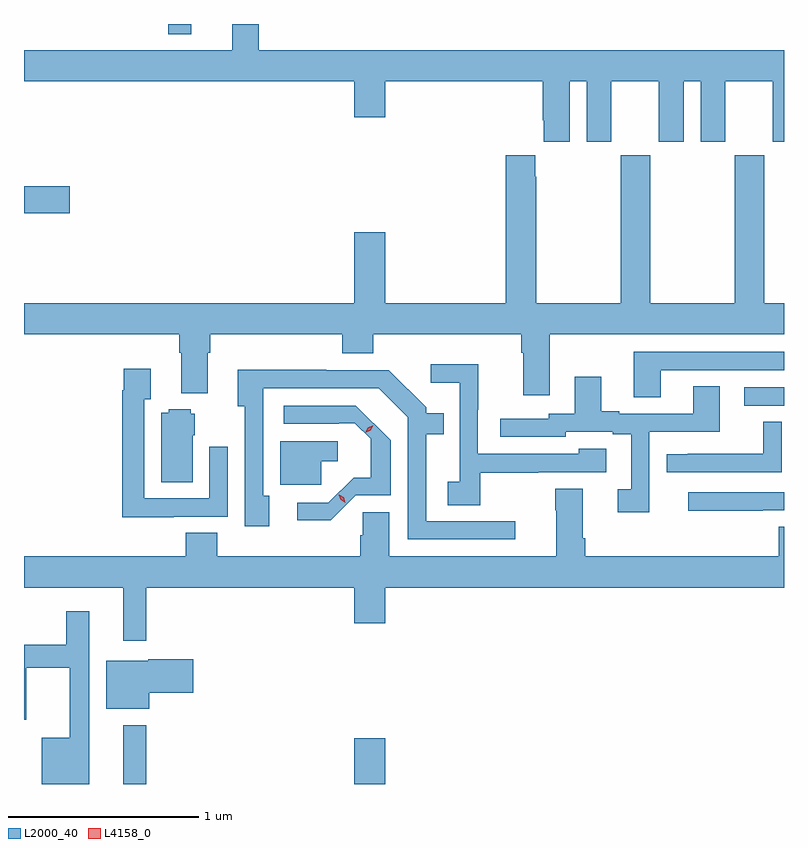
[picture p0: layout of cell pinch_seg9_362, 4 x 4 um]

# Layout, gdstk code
import gdstk
lib = gdstk.Library(unit=1e-6, precision=1e-09)
def R(c, l, rs):  # rectangles x0, y0, x1, y1
    for r in rs: c.add(gdstk.rectangle(r[:2], r[2:], *l))
def P(c, l, *ps):  # polygons
    for p in ps: c.add(gdstk.Polygon(p, *l))
L2000_40 = (2000, 40)
L4158_0 = (4158, 0)

pinch_seg9_362 = lib.new_cell('pinch_seg9_362')
R(pinch_seg9_362, L2000_40, [(379.577,1228.686,379.699,1228.996), (380.792,1228.686,380.956,1228.927), (382.845,1230.678,383.055,1230.774), (379.055,1231.69,379.297,1231.832), (379.814,1232.633,379.936,1232.686)])
P(pinch_seg9_362, L2000_40, [(381.928,1232.384),(382.016,1232.384),(382.016,1232.067),(382.147,1232.067),(382.147,1232.384),(382.397,1232.384),(382.397,1232.067),(382.528,1232.067),(382.528,1232.384),(382.616,1232.384),(382.616,1232.067),(382.747,1232.067),(382.747,1232.384),(382.997,1232.384),(382.997,1232.067),(383.055,1232.067),(383.055,1232.548),(380.29,1232.548),(380.29,1232.686),(380.15,1232.686),(380.15,1232.548),(379.055,1232.548),(379.055,1232.384),(380.792,1232.384),(380.792,1232.196),(380.956,1232.196),(380.956,1232.384),(381.785,1232.384),(381.785,1232.179),(381.791,1232.179),(381.791,1232.067),(381.928,1232.067)],
  [(379.055,1231.052),(379.871,1231.052),(379.871,1230.956),(379.883,1230.956),(379.883,1230.743),(380.023,1230.743),(380.023,1230.956),(380.036,1230.956),(380.036,1231.052),(380.729,1231.052),(380.729,1230.953),(380.894,1230.953),(380.894,1231.052),(381.671,1231.052),(381.671,1230.956),(381.683,1230.956),(381.683,1230.732),(381.823,1230.732),(381.823,1231.052),(383.055,1231.052),(383.055,1231.216),(382.95,1231.216),(382.95,1231.996),(382.795,1231.996),(382.795,1231.216),(382.35,1231.216),(382.35,1231.996),(382.195,1231.996),(382.195,1231.216),(381.75,1231.216),(381.75,1231.883),(381.745,1231.883),(381.745,1231.996),(381.59,1231.996),(381.59,1231.216),(380.956,1231.216),(380.956,1231.591),(380.792,1231.591),(380.792,1231.216),(379.055,1231.216)],
  [(382.405,1230.864),(383.055,1230.864),(383.055,1230.96),(382.265,1230.96),(382.265,1230.721),(382.405,1230.721)],
  [(381.457,1230.325),(381.761,1230.325),(381.761,1230.327),(382.12,1230.327),(382.12,1230.451),(381.975,1230.451),(381.975,1230.423),(381.444,1230.423),(381.444,1230.656),(381.447,1230.656),(381.447,1230.895),(381.195,1230.895),(381.195,1230.797),(381.348,1230.797),(381.348,1230.276),(381.285,1230.276),(381.285,1230.154),(381.457,1230.154)],
  [(379.843,1230.093),(380.127,1230.093),(380.127,1230.46),(380.031,1230.46),(380.031,1230.189),(379.689,1230.189),(379.689,1230.71),(379.723,1230.71),(379.723,1230.871),(379.581,1230.871),(379.581,1230.758),(379.573,1230.758),(379.573,1230.089),(379.843,1230.089)],
  [(381.64,1230.069),(381.172,1230.069),(381.172,1230.528),(381.263,1230.528),(381.263,1230.637),(381.171,1230.637),(381.171,1230.669),(380.976,1230.864),(380.645,1230.864),(380.645,1230.866),(380.18,1230.866),(380.18,1230.674),(380.217,1230.674),(380.217,1230.042),(380.347,1230.042),(380.347,1230.202),(380.313,1230.202),(380.313,1230.768),(380.922,1230.768),(381.075,1230.615),(381.075,1229.973),(381.64,1229.973)],
  [(382.347,1230.54),(382.717,1230.54),(382.717,1230.779),(382.577,1230.779),(382.577,1230.636),(382.189,1230.636),(382.189,1230.649),(382.093,1230.649),(382.093,1230.829),(381.953,1230.829),(381.953,1230.636),(381.816,1230.636),(381.816,1230.609),(381.561,1230.609),(381.561,1230.513),(381.906,1230.513),(381.906,1230.54),(382.154,1230.54),(382.154,1230.528),(382.25,1230.528),(382.25,1230.237),(382.179,1230.237),(382.179,1230.117),(382.347,1230.117)],
  [(380.802,1230.207),(380.985,1230.207),(380.985,1230.495),(380.802,1230.678),(380.421,1230.678),(380.421,1230.582),(380.712,1230.582),(380.712,1230.585),(380.795,1230.585),(380.879,1230.502),(380.879,1230.299),(380.79,1230.299),(380.656,1230.165),(380.493,1230.165),(380.493,1230.074),(380.669,1230.074)],
  [(379.942,1230.522),(379.954,1230.522),(379.954,1230.636),(379.932,1230.636),(379.932,1230.658),(379.818,1230.658),(379.818,1230.64),(379.778,1230.64),(379.778,1230.274),(379.942,1230.274)],
  [(383.043,1230.593),(382.945,1230.593),(382.945,1230.423),(382.549,1230.423),(382.549,1230.422),(382.437,1230.422),(382.437,1230.327),(383.043,1230.327)],
  [(380.62,1230.386),(380.707,1230.386),(380.707,1230.49),(380.403,1230.49),(380.403,1230.261),(380.62,1230.261)],
  [(379.699,1229.72),(380.792,1229.72),(380.792,1229.532),(380.956,1229.532),(380.956,1229.72),(383.055,1229.72),(383.055,1230.041),(383.027,1230.041),(383.027,1229.884),(382.01,1229.884),(382.01,1229.98),(381.997,1229.98),(381.997,1230.241),(381.85,1230.241),(381.85,1230.128),(381.857,1230.128),(381.857,1229.884),(380.977,1229.884),(380.977,1230.116),(380.838,1230.116),(380.838,1229.994),(380.825,1229.994),(380.825,1229.884),(380.072,1229.884),(380.072,1230.008),(379.907,1230.008),(379.907,1229.884),(379.055,1229.884),(379.055,1229.72),(379.577,1229.72),(379.577,1229.439),(379.699,1229.439)],
  [(382.943,1230.126),(383.055,1230.126),(383.055,1230.222),(382.551,1230.222),(382.551,1230.124),(382.943,1230.124)],
  [(379.399,1229.596),(379.278,1229.596),(379.278,1229.419),(379.055,1229.419),(379.055,1229.025),(379.066,1229.025),(379.066,1229.298),(379.295,1229.298),(379.295,1228.93),(379.148,1228.93),(379.148,1228.686),(379.399,1228.686)],
  [(379.714,1229.165),(379.945,1229.165),(379.945,1229.343),(379.71,1229.343),(379.71,1229.335),(379.487,1229.335),(379.487,1229.081),(379.714,1229.081)])
P(pinch_seg9_362, L4158_0, [(380.85,1230.534),(380.85,1230.534),(380.865,1230.562),(380.894,1230.575),(380.894,1230.575),(380.894,1230.574),(380.879,1230.547),(380.851,1230.534)],
  [(380.747,1230.167),(380.722,1230.181),(380.712,1230.208),(380.712,1230.208),(380.713,1230.208),(380.737,1230.194),(380.747,1230.167),(380.747,1230.167)])

lib.write_gds('pinch_seg9_362.gds')
